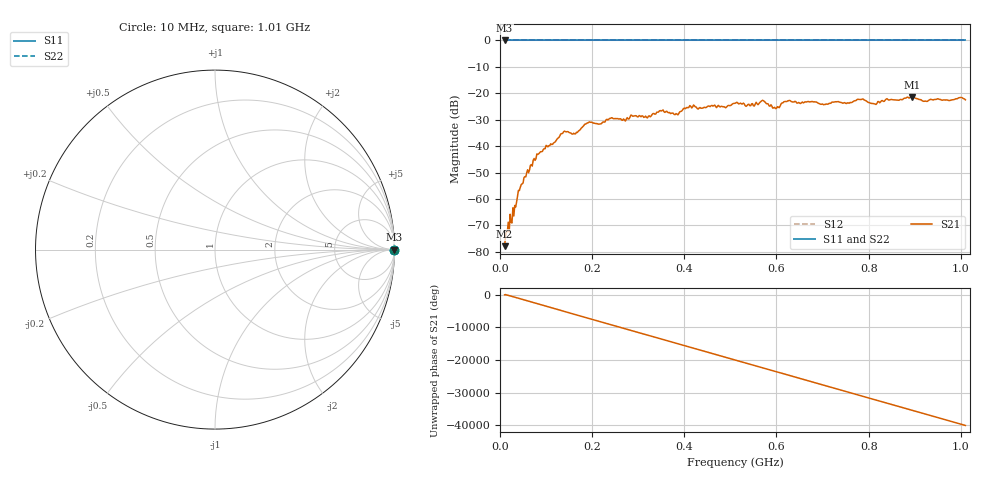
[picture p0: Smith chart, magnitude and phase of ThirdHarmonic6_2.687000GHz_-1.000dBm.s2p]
! 8/17/2025 6:21:13 AM
! C:\ANRITSUVNA\TEMP\TEMP.S2P
! CHANNEL.1
! TR.MEASUREMENT
! RAW.DATA
! RF.CORRECTION.OFF
! AVERAGING.OFF
! IF.BANDWIDTH: 5KHZ
! SWEEPTYPE:  FREQ.SWEEP(Linear)
! Reference Plane Port Info
! PORT:  PORT1  PORT2
! DISTANCE:  0  m  0  m
! TIME:  0  s  0  s
! PHASE.OFFSET:  0  deg.  0  deg.
! LOSS:  0  dB  0  dB
! REF.LOSS:  0  dB  0  dB
! REF.FREQ:  0  Hz  0  Hz
! Power Info
! POWER:  -20  dBm  -20  dBm
! EFF.POWER:  -20  dBm  -20  dBm
! SOURCE.ATTEN:  0  dB  0  dB
! TEST.ATTEN:  0  dB  0  dB
# GHZ S RI R 50.0
! FREQ.GHZ  S11RE  S11IM  S21RE  S21IM  S12RE  S12IM  S22RE  S22IM
!; PortSelection: Port_12
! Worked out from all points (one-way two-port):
!   501 points, 10 MHz to 1.01 GHz, reference 50 ohm
!   highest |S21| = -21.36 dB at 894 MHz (marker M1); lowest = -77.8 dB at 10 MHz (marker M2)
!   lowest |S11| = 0.0 dB at 10 MHz (marker M3)
!   |S11| at or under -10 dB: nowhere
!   |S22| runs from 0.0 to 0.0 dB; largest |S21 - S12| = 1.1
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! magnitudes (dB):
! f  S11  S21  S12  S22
! 10 MHz  0.0  -77.8  0.0  0.0
! 42 MHz  0.0  -56.8  0.0  0.0
! 76 MHz  0.0  -45.4  0.0  0.0
! 136 MHz  0.0  -35.1  0.0  0.0
! 160 MHz  0.0  -35.1  0.0  0.0
! 178 MHz  0.0  -32.9  0.0  0.0
! 194 MHz  0.0  -30.8  0.0  0.0
! 322 MHz  0.0  -28.7  0.0  0.0
! 344 MHz  0.0  -27.1  0.0  0.0
! 382 MHz  0.0  -27.7  0.0  0.0
! 410 MHz  0.0  -25.3  0.0  0.0
! 510 MHz  0.0  -23.8  0.0  0.0
! 570 MHz  0.0  -22.6  0.0  0.0
! 596 MHz  0.0  -25.3  0.0  0.0
! 626 MHz  0.0  -22.8  0.0  0.0
! 678 MHz  0.0  -23.1  0.0  0.0
! 784 MHz  0.0  -22.3  0.0  0.0
! 814 MHz  0.0  -24.0  0.0  0.0
! 844 MHz  0.0  -22.6  0.0  0.0
! 894 MHz  0.0  -21.4  0.0  0.0
! 922 MHz  0.0  -23.0  0.0  0.0
! 1.01 GHz  0.0  -22.5  0.0  0.0
